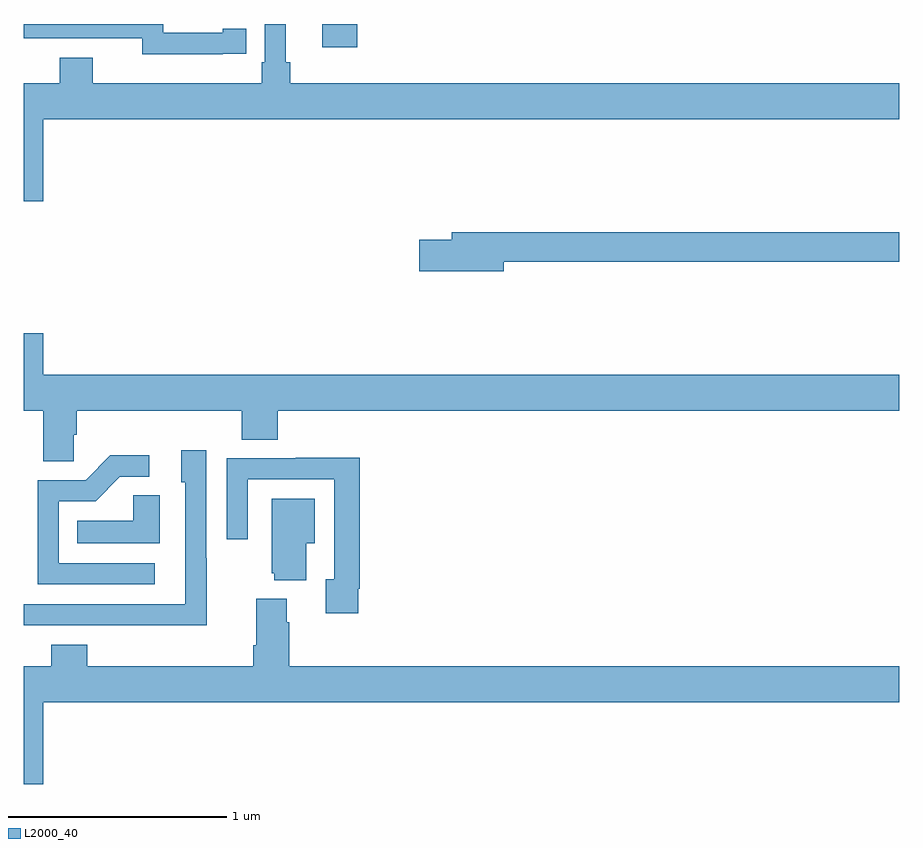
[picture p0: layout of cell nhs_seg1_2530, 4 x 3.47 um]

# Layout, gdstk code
import gdstk
lib = gdstk.Library(unit=1e-6, precision=1e-09)
def R(c, l, rs):  # rectangles x0, y0, x1, y1
    for r in rs: c.add(gdstk.rectangle(r[:2], r[2:], *l))
def P(c, l, *ps):  # polygons
    for p in ps: c.add(gdstk.Polygon(p, *l))
L2000_40 = (2000, 40)

nhs_seg1_2530 = lib.new_cell('nhs_seg1_2530')
R(nhs_seg1_2530, L2000_40, [(250.364,520.092,250.523,520.199)])
P(nhs_seg1_2530, L2000_40, [(249.088,519.764),(253,519.764),(253,519.928),(250.217,519.928),(250.217,520.024),(250.198,520.024),(250.198,520.199),(250.101,520.199),(250.101,520.024),(250.088,520.024),(250.088,519.928),(249.316,519.928),(249.316,520.045),(249.164,520.045),(249.164,519.928),(249,519.928),(249,519.39),(249.088,519.39)],
  [(249.908,520.062),(250.016,520.062),(250.016,520.178),(249.908,520.178),(249.908,520.158),(249.636,520.158),(249.636,520.199),(249,520.199),(249,520.133),(249.08,520.133),(249.08,520.134),(249.54,520.134),(249.54,520.061),(249.908,520.061)],
  [(251.194,519.112),(253,519.112),(253,519.248),(250.955,519.248),(250.955,519.212),(250.806,519.212),(250.806,519.07),(251.194,519.07)],
  [(249.228,518.323),(249.242,518.323),(249.242,518.432),(249.995,518.432),(249.995,518.299),(250.16,518.299),(250.16,518.432),(253,518.432),(253,518.596),(249.088,518.596),(249.088,518.785),(249,518.785),(249,518.432),(249.089,518.432),(249.089,518.2),(249.228,518.2)],
  [(249.837,517.757),(249.834,517.757),(249.834,518.251),(249.719,518.251),(249.719,518.106),(249.738,518.106),(249.738,517.548),(249,517.548),(249,517.452),(249.373,517.452),(249.373,517.451),(249.837,517.451)],
  [(249.598,517.734),(249.159,517.734),(249.159,518.019),(249.328,518.019),(249.439,518.13),(249.574,518.13),(249.574,518.228),(249.395,518.228),(249.282,518.115),(249.063,518.115),(249.063,517.638),(249.598,517.638)],
  [(250.528,517.618),(250.535,517.618),(250.535,518.216),(250.243,518.216),(250.243,518.214),(249.927,518.214),(249.927,517.845),(250.023,517.845),(250.023,518.118),(250.419,518.118),(250.419,517.662),(250.379,517.662),(250.379,517.506),(250.528,517.506)],
  [(249.622,518.045),(249.501,518.045),(249.501,517.93),(249.244,517.93),(249.244,517.826),(249.622,517.826)],
  [(250.291,517.826),(250.33,517.826),(250.33,518.029),(250.133,518.029),(250.133,517.689),(250.145,517.689),(250.145,517.658),(250.291,517.658)],
  [(249.088,517.1),(253,517.1),(253,517.264),(250.214,517.264),(250.214,517.466),(250.201,517.466),(250.201,517.573),(250.061,517.573),(250.061,517.36),(250.049,517.36),(250.049,517.264),(249.29,517.264),(249.29,517.363),(249.125,517.363),(249.125,517.264),(249,517.264),(249,516.726),(249.088,516.726)])

lib.write_gds('nhs_seg1_2530.gds')
